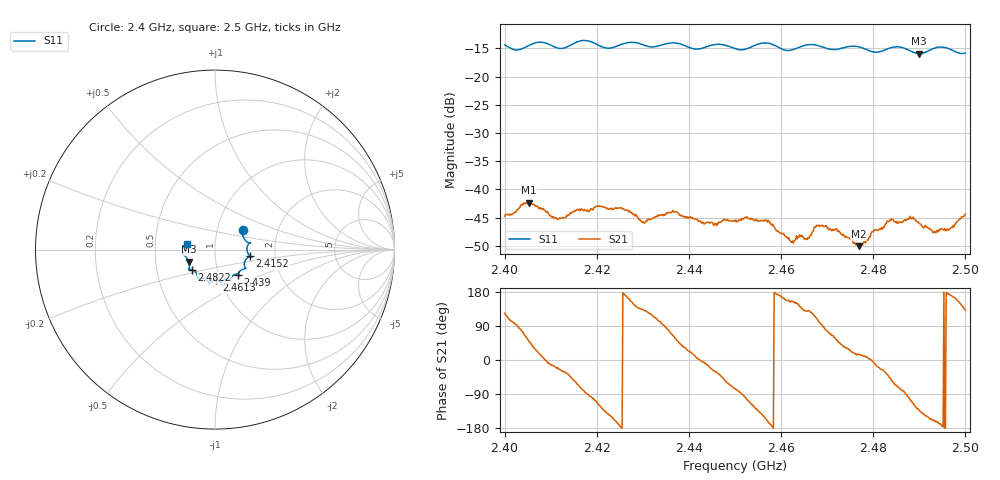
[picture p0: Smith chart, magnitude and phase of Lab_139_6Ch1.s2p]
# Hz S RI R 50
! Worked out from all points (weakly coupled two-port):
!   601 points, 2.4 GHz to 2.5 GHz, reference 50 ohm
!   highest |S21| = -42.34 dB at 2.4053 GHz (marker M1); lowest = -50.1 dB at 2.4768 GHz (marker M2)
!   lowest |S11| = -15.9 dB at 2.4898 GHz (marker M3), VSWR 1.38, Z = 37 - j5.05 ohm
!   |S11| at or under -10 dB: start of sweep to end of sweep
!   S12 and S22 are empty: the file has one direction only
!   S11 on the Smith chart (normalised r, x): 2.4 GHz: 1.33, +0.31; 2.4152 GHz: 1.48, -0.11; 2.439 GHz: 1.24, -0.36; 2.4613 GHz: 0.96, -0.34; 2.4822 GHz: 0.76, -0.17; 2.5 GHz: 0.72, +0.05
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2.4e9  0.1561 0.1113  -0.00318 0.0048  0 0  0 0
2.405333e9  0.1856 0.0386  0.00508 0.00571  0 0  0 0
2.411167e9  0.1803 0.0187  0.00523 -0.00188  0 0  0 0
2.415167e9  0.1949 -0.0366  0.00364 -0.00522  0 0  0 0
2.416667e9  0.2043 -0.0424  0.00171 -0.00649  0 0  0 0
2.425333e9  0.1668 -0.0979  -0.00686 -0.000166  0 0  0 0
2.430167e9  0.1569 -0.1091  -0.00337 0.00383  0 0  0 0
2.433333e9  0.1323 -0.1323  -0.00136 0.00563  0 0  0 0
2.439e9  0.1284 -0.1388  0.00474 0.0031  0 0  0 0
2.445833e9  0.085 -0.1734  0.00421 -0.00251  0 0  0 0
2.45e9  0.0689 -0.1637  0.00121 -0.00504  0 0  0 0
2.457e9  0.0396 -0.1946  -0.00483 -0.00178  0 0  0 0
2.461333e9  0.00717 -0.1706  -0.00346 0.00149  0 0  0 0
2.466667e9  -0.0332 -0.1899  -0.00237 0.00332  0 0  0 0
2.469333e9  -0.0378 -0.1772  0.00034 0.00468  0 0  0 0
2.476833e9  -0.0952 -0.1576  0.00304 0.000771  0 0  0 0
2.482167e9  -0.1281 -0.1121  0.00412 -0.00207  0 0  0 0
2.483333e9  -0.1393 -0.1104  0.00377 -0.00354  0 0  0 0
2.489833e9  -0.1457 -0.0665  -0.00334 -0.00388  0 0  0 0
2.4935e9  -0.1785 -0.0254  -0.00397 -0.00122  0 0  0 0
2.496667e9  -0.1748 -0.0143  -0.00443 0.000673  0 0  0 0
2.5e9  -0.1585 0.0332  -0.00397 0.00457  0 0  0 0
